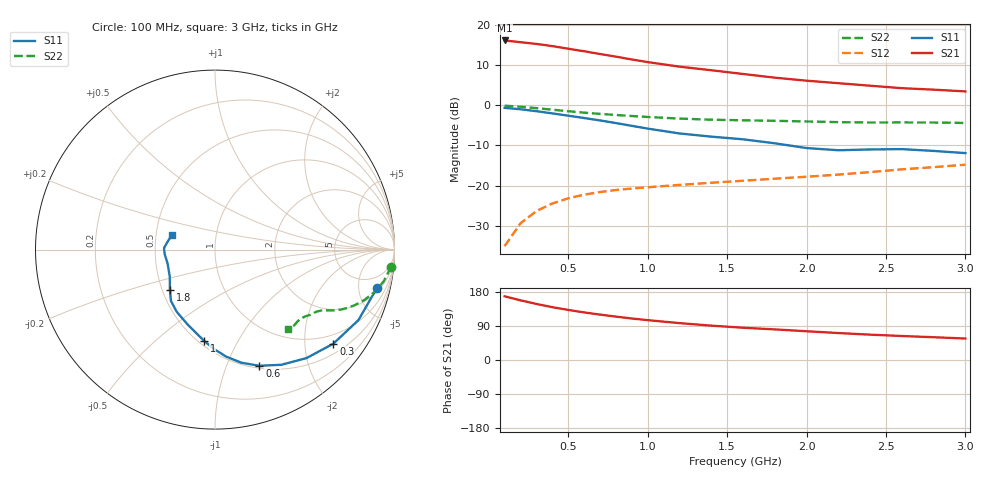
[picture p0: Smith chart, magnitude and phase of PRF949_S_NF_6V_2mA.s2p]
! Philips part #:  PRF949  Date:  Dec 1999
! Bias condition:  Vce=6V, Ic=2mA
#  MHz  S  MA  R 50
! Freq  S11  S21  S12  S22  :
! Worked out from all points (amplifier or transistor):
!   20 points, 100 MHz to 3 GHz, reference 50 ohm
!   highest |S21| = 16.1 dB at 100 MHz (marker M1)
!   |S21| within 3 dB of that: start of sweep to 646.4 MHz
!   unconditionally stable (mu >= 1): 1.892 GHz to end of sweep
!   at 400 MHz: K = 0.26, MSG = 19.6 dB, |S12| = -24.4 dB
!   at 1.2 GHz: K = 0.74, MSG = 14.7 dB, |S12| = -19.8 dB
!   at 3 GHz: K = 1.09, MAG = 7.2 dB, |S12| = -14.8 dB
!   lowest NFmin = 0.97 dB at 500 MHz
!   S11 on the Smith chart (normalised r, x): 100 MHz: 2.53, -7.70; 300 MHz: 0.74, -2.69; 600 MHz: 0.53, -1.31; 1 GHz: 0.53, -0.73; 1.8 GHz: 0.55, -0.28; 3 GHz: 0.61, +0.11
100  0.9267 -13.4  6.385 168.1  0.01765 82.0  0.9861 -5.6
200  0.8906 -26.2  6.073 157.5  0.03399 75.2  0.9567 -10.6
300  0.8425 -38.5  5.784 148.0  0.04821 69.4  0.9194 -14.9
400  0.791 -49.8  5.428 139.4  0.05994 64.6  0.8797 -18.5
500  0.7409 -60.0  5.039 132.1  0.06941 61.2  0.841 -21.5
600  0.6929 -69.1  4.689 125.6  0.0771 58.6  0.8078 -23.7
700  0.6466 -77.0  4.333 119.8  0.08313 56.8  0.7799 -25.3
800  0.5994 -84.0  4.017 114.5  0.08807 55.5  0.7557 -26.5
900  0.5541 -90.5  3.707 109.5  0.09187 54.7  0.7337 -27.5
1000  0.5118 -96.8  3.438 105.2  0.09536 54.5  0.7141 -28.3
1200  0.4454 -109.8  3.016 97.3  0.102 54.6  0.6815 -29.9
1400  0.4065 -121.8  2.723 90.7  0.1085 55.6  0.6603 -31.7
1600  0.3766 -130.7  2.445 85.1  0.1149 57.6  0.649 -33.5
1800  0.336 -138.4  2.201 80.8  0.1219 60.0  0.6395 -34.8
2000  0.2932 -149.3  2.018 75.9  0.1289 62.3  0.6277 -36.2
2200  0.2753 -163.5  1.878 71.1  0.1371 64.5  0.6154 -38.3
2400  0.2815 -174.8  1.748 66.9  0.1471 66.7  0.6094 -41.0
2600  0.2843 178.3  1.628 63.3  0.1593 69.0  0.6105 -43.4
2800  0.27 171.7  1.561 60.1  0.1696 70.9  0.6088 -45.2
3000  0.2537 160.9  1.484 56.6  0.1819 72.8  0.6013 -47.3
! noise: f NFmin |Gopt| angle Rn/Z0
500  0.97  0.57  20  0.43
800  1.18  0.61  29  0.43
900  1.25  0.55  33  0.46
1000  1.43  0.49  39  0.4
1500  1.58  0.39  71  0.35
2000  1.99  0.28  115  0.25
